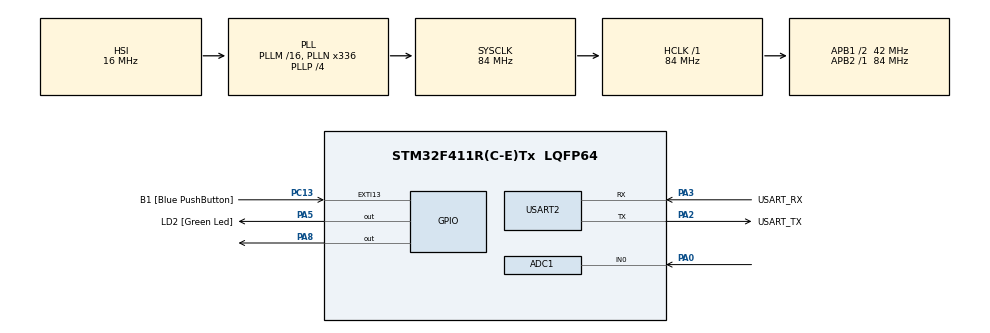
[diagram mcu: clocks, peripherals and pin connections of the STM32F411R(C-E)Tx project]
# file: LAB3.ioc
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Mcu.Family=STM32F4
PC15-OSC32_OUT.Mode=LSE-External-Oscillator
RCC.CortexFreq_Value=84000000
ADC1.Rank-0\#ChannelRegularConversion=1
VP_ADC1_TempSens_Input.Mode=IN-TempSens
PC13-ANTI_TAMP.GPIO_Label=B1 [Blue PushButton]
PA14.GPIO_Label=TCK
PH1\ -\ OSC_OUT.Mode=HSE-External-Clock-Source
RCC.APB1CLKDivider=RCC_HCLK_DIV2
PC14-OSC32_IN.Signal=RCC_OSC32_IN
RCC.SYSCLKSource=RCC_SYSCLKSOURCE_PLLCLK
ProjectManager.StackSize=0x400
PA0-WKUP.Signal=ADCx_IN0
PA13.Signal=SYS_JTMS-SWDIO
PA3.Mode=Asynchronous
PH0\ -\ OSC_IN.Mode=HSE-External-Clock-Source
PH0\ -\ OSC_IN.Signal=RCC_OSC_IN
ProjectManager.TargetToolchain=STM32CubeIDE
RCC.HCLKFreq_Value=84000000
RCC.APB2TimFreq_Value=84000000
PC15-OSC32_OUT.Signal=RCC_OSC32_OUT
RCC.AHBFreq_Value=84000000
PA5.Signal=GPIO_Output
ADC1.Channel-0\#ChannelRegularConversion=ADC_CHANNEL_0
RCC.HSE_VALUE=8000000
PH1\ -\ OSC_OUT.Signal=RCC_OSC_OUT
board=NUCLEO-F411RE
PC13-ANTI_TAMP.Signal=GPXTI13
RCC.VCOOutputFreq_Value=336000000
RCC.APB2Freq_Value=84000000
PC14-OSC32_IN.Mode=LSE-External-Oscillator
PA14.Mode=Serial_Wire
PA8.Signal=GPIO_Output
SH.ADCx_IN0.0=ADC1_IN0,IN0
PA13.Mode=Serial_Wire
Mcu.Name=STM32F411R(C-E)Tx
ADC1.SamplingTime-0\#ChannelRegularConversion=ADC_SAMPLETIME_3CYCLES
PA2.Signal=USART2_TX
PA13.GPIO_Label=TMS
RCC.FLatency-AdvancedSettings=FLASH_LATENCY_2
RCC.48MHZClocksFreq_Value=84000000
PB3.Signal=SYS_JTDO-SWO
RCC.SYSCLKFreq_VALUE=84000000
Mcu.Package=LQFP64
ADC1.master=1
PA5.GPIO_Label=LD2 [Green Led]
USART2.VirtualMode=VM_ASYNC
PC13-ANTI_TAMP.GPIO_ModeDefaultEXTI=GPIO_MODE_IT_FALLING
PA2.GPIO_Label=USART_TX
PA14.Signal=SYS_JTCK-SWCLK
ProjectManager.HeapSize=0x200
RCC.HSI_VALUE=16000000
RCC.PLLP=RCC_PLLP_DIV4
NVIC.PriorityGroup=NVIC_PRIORITYGROUP_0
ADC1.NbrOfConversionFlag=1
RCC.PLLN=336
RCC.APB1TimFreq_Value=84000000
PA2.Mode=Asynchronous
RCC.APB1Freq_Value=42000000
PA3.GPIO_Label=USART_RX
PA3.Signal=USART2_RX
PB3.GPIO_Label=SWO

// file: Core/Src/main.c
/* USER CODE BEGIN Header */
/**
  ******************************************************************************
  * @file           : main.c
  * @brief          : Main program body
  ******************************************************************************
  * @attention
  *
  * <h2><center>&copy; Copyright (c) 2021 STMicroelectronics.
  * All rights reserved.</center></h2>
  *
  * This software component is licensed by ST under BSD 3-Clause license,
  * the "License"; You may not use this file except in compliance with the
  * License. You may obtain a copy of the License at:
  *                        opensource.org/licenses/BSD-3-Clause
  *
  ******************************************************************************
  */
/* USER CODE END Header */
#include "main.h"

ADC_HandleTypeDef hadc1;

UART_HandleTypeDef huart2;

/* USER CODE BEGIN PV */
uint8_t ADCMode = 1;
//uint8_t ADCMode = 0;
float ADCOutputConverted=0;
GPIO_PinState SWState[2];
typedef struct{
	ADC_ChannelConfTypeDef Config;
	float Data;
}ADCStructure;

ADCStructure ADCChannel[2] = { 0 };
/* USER CODE END PV */

void SystemClock_Config(void);
static void MX_GPIO_Init(void);
static void MX_USART2_UART_Init(void);
static void MX_ADC1_Init(void);
/* USER CODE BEGIN PFP */
void ADCPollingMethodInit();
void ADCPollingMethodUpdate();
void SWMode();
/* USER CODE END PFP */

int main(void)
{

  /* MCU Configuration--------------------------------------------------------*/

  /* Reset of all peripherals, Initializes the Flash interface and the Systick. */
  HAL_Init();

  /* Configure the system clock */
  SystemClock_Config();

  /* Initialize all configured peripherals */
  MX_GPIO_Init();
  MX_USART2_UART_Init();
  MX_ADC1_Init();
  /* USER CODE BEGIN 2 */
  ADCPollingMethodInit();
  /* USER CODE END 2 */

  /* Infinite loop */
  while (1)
  {

    /* USER CODE BEGIN 3 */

	ADCPollingMethodUpdate();
	SWMode();
	if(ADCMode == 0){
		HAL_GPIO_WritePin(GPIOA, GPIO_PIN_8, GPIO_PIN_RESET);
		ADCOutputConverted = ADCChannel[0].Data / 4095.0 * 3300.0;
	}
	else if(ADCMode == 1){
		HAL_GPIO_WritePin(GPIOA, GPIO_PIN_8, GPIO_PIN_SET);
		ADCOutputConverted = (((ADCChannel[1].Data * 3.3 / 4095.0)-0.76) / 0.0025)+ 25.0 ;
	}
  }
  /* USER CODE END 3 */
}

void SystemClock_Config(void)
{
  RCC_OscInitTypeDef RCC_OscInitStruct = {0};
  RCC_ClkInitTypeDef RCC_ClkInitStruct = {0};

  /** Configure the main internal regulator output voltage
  */
  __HAL_RCC_PWR_CLK_ENABLE();
  __HAL_PWR_VOLTAGESCALING_CONFIG(PWR_REGULATOR_VOLTAGE_SCALE1);
  /** Initializes the RCC Oscillators according to the specified parameters
  * in the RCC_OscInitTypeDef structure.
  */
  RCC_OscInitStruct.OscillatorType = RCC_OSCILLATORTYPE_HSI;
  RCC_OscInitStruct.HSIState = RCC_HSI_ON;
  RCC_OscInitStruct.HSICalibrationValue = RCC_HSICALIBRATION_DEFAULT;
  RCC_OscInitStruct.PLL.PLLState = RCC_PLL_ON;
  RCC_OscInitStruct.PLL.PLLSource = RCC_PLLSOURCE_HSI;
  RCC_OscInitStruct.PLL.PLLM = 16;
  RCC_OscInitStruct.PLL.PLLN = 336;
  RCC_OscInitStruct.PLL.PLLP = RCC_PLLP_DIV4;
  RCC_OscInitStruct.PLL.PLLQ = 4;
  if (HAL_RCC_OscConfig(&RCC_OscInitStruct) != HAL_OK)
  {
    Error_Handler();
  }
  /** Initializes the CPU, AHB and APB buses clocks
  */
  RCC_ClkInitStruct.ClockType = RCC_CLOCKTYPE_HCLK|RCC_CLOCKTYPE_SYSCLK
                              |RCC_CLOCKTYPE_PCLK1|RCC_CLOCKTYPE_PCLK2;
  RCC_ClkInitStruct.SYSCLKSource = RCC_SYSCLKSOURCE_PLLCLK;
  RCC_ClkInitStruct.AHBCLKDivider = RCC_SYSCLK_DIV1;
  RCC_ClkInitStruct.APB1CLKDivider = RCC_HCLK_DIV2;
  RCC_ClkInitStruct.APB2CLKDivider = RCC_HCLK_DIV1;

  if (HAL_RCC_ClockConfig(&RCC_ClkInitStruct, FLASH_LATENCY_2) != HAL_OK)
  {
    Error_Handler();
  }
}

static void MX_ADC1_Init(void)
{

  ADC_ChannelConfTypeDef sConfig = {0};

  /** Configure the global features of the ADC (Clock, Resolution, Data Alignment and number of conversion)
  */
  hadc1.Instance = ADC1;
  hadc1.Init.ClockPrescaler = ADC_CLOCK_SYNC_PCLK_DIV4;
  hadc1.Init.Resolution = ADC_RESOLUTION_12B;
  hadc1.Init.ScanConvMode = DISABLE;
  hadc1.Init.ContinuousConvMode = DISABLE;
  hadc1.Init.DiscontinuousConvMode = DISABLE;
  hadc1.Init.ExternalTrigConvEdge = ADC_EXTERNALTRIGCONVEDGE_NONE;
  hadc1.Init.ExternalTrigConv = ADC_SOFTWARE_START;
  hadc1.Init.DataAlign = ADC_DATAALIGN_RIGHT;
  hadc1.Init.NbrOfConversion = 1;
  hadc1.Init.DMAContinuousRequests = DISABLE;
  hadc1.Init.EOCSelection = ADC_EOC_SINGLE_CONV;
  if (HAL_ADC_Init(&hadc1) != HAL_OK)
  {
    Error_Handler();
  }
  /** Configure for the selected ADC regular channel its corresponding rank in the sequencer and its sample time.
  */
  sConfig.Channel = ADC_CHANNEL_0;
  sConfig.Rank = 1;
  sConfig.SamplingTime = ADC_SAMPLETIME_3CYCLES;
  if (HAL_ADC_ConfigChannel(&hadc1, &sConfig) != HAL_OK)
  {
    Error_Handler();
  }

}

static void MX_USART2_UART_Init(void)
{

  huart2.Instance = USART2;
  huart2.Init.BaudRate = 115200;
  huart2.Init.WordLength = UART_WORDLENGTH_8B;
  huart2.Init.StopBits = UART_STOPBITS_1;
  huart2.Init.Parity = UART_PARITY_NONE;
  huart2.Init.Mode = UART_MODE_TX_RX;
  huart2.Init.HwFlowCtl = UART_HWCONTROL_NONE;
  huart2.Init.OverSampling = UART_OVERSAMPLING_16;
  if (HAL_UART_Init(&huart2) != HAL_OK)
  {
    Error_Handler();
  }

}

static void MX_GPIO_Init(void)
{
  GPIO_InitTypeDef GPIO_InitStruct = {0};

  /* GPIO Ports Clock Enable */
  __HAL_RCC_GPIOC_CLK_ENABLE();
  __HAL_RCC_GPIOH_CLK_ENABLE();
  __HAL_RCC_GPIOA_CLK_ENABLE();
  __HAL_RCC_GPIOB_CLK_ENABLE();

  /*Configure GPIO pin Output Level */
  HAL_GPIO_WritePin(GPIOA, LD2_Pin|GPIO_PIN_8, GPIO_PIN_RESET);

  /*Configure GPIO pin : B1_Pin */
  GPIO_InitStruct.Pin = B1_Pin;
  GPIO_InitStruct.Mode = GPIO_MODE_IT_FALLING;
  GPIO_InitStruct.Pull = GPIO_NOPULL;
  HAL_GPIO_Init(B1_GPIO_Port, &GPIO_InitStruct);

  /*Configure GPIO pins : LD2_Pin PA8 */
  GPIO_InitStruct.Pin = LD2_Pin|GPIO_PIN_8;
  GPIO_InitStruct.Mode = GPIO_MODE_OUTPUT_PP;
  GPIO_InitStruct.Pull = GPIO_NOPULL;
  GPIO_InitStruct.Speed = GPIO_SPEED_FREQ_LOW;
  HAL_GPIO_Init(GPIOA, &GPIO_InitStruct);

}

/* USER CODE BEGIN 4 */
void SWMode(){
	SWState[0] = HAL_GPIO_ReadPin(GPIOC, GPIO_PIN_13);
	if(SWState[0] == GPIO_PIN_RESET && SWState[1] == GPIO_PIN_SET){
		ADCMode++;
		ADCMode = ADCMode%2;
	}

	SWState[1] = SWState[0];
}
void ADCPollingMethodInit(){
	//PA0
	ADCChannel[0].Config.Channel = ADC_CHANNEL_0;
	ADCChannel[0].Config.Rank = 1;
	ADCChannel[0].Config.SamplingTime = ADC_SAMPLETIME_3CYCLES;
	//Temp
	ADCChannel[1].Config.Channel = ADC_CHANNEL_TEMPSENSOR;
	ADCChannel[1].Config.Rank = 1;
	ADCChannel[1].Config.SamplingTime = ADC_SAMPLETIME_3CYCLES;
}
void ADCPollingMethodUpdate(){
	for(int i=0 ; i<2 ; i++){
		HAL_ADC_ConfigChannel(&hadc1, &ADCChannel[i].Config);
		HAL_ADC_Start(&hadc1);
		if(HAL_ADC_PollForConversion(&hadc1, 10) == HAL_OK){
			ADCChannel[i].Data = HAL_ADC_GetValue(&hadc1);
		}
		HAL_ADC_Stop(&hadc1);
	}
}
/* USER CODE END 4 */

void Error_Handler(void)
{
  __disable_irq();
  while (1)
  {
  }
}

/************************ (C) COPYRIGHT STMicroelectronics *****END OF FILE****/
